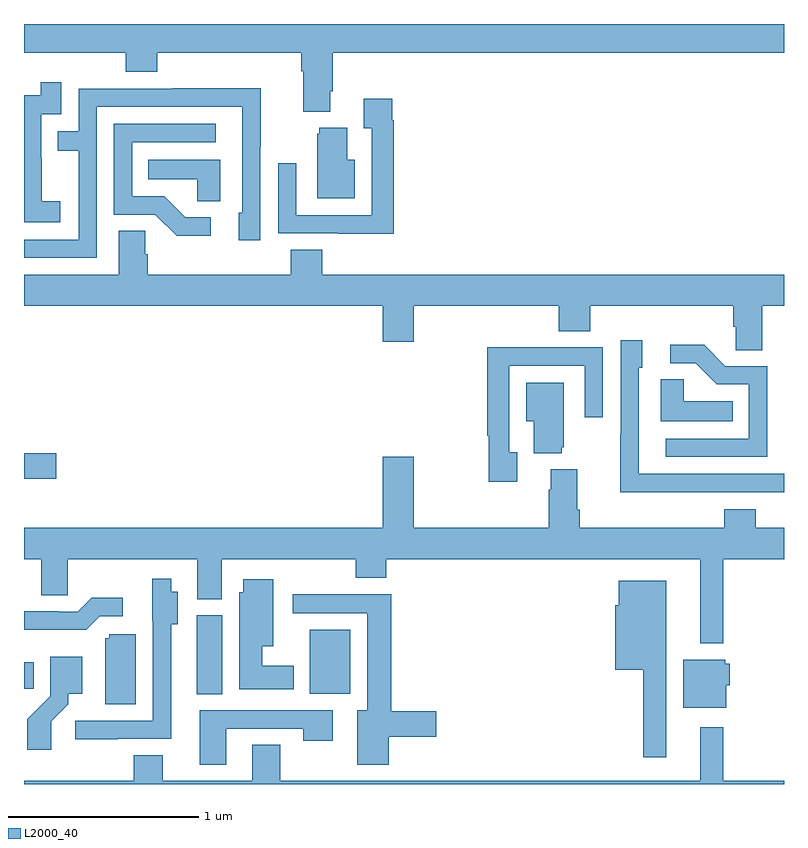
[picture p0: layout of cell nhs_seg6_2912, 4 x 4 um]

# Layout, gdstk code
import gdstk
lib = gdstk.Library(unit=1e-6, precision=1e-09)
def R(c, l, rs):  # rectangles x0, y0, x1, y1
    for r in rs: c.add(gdstk.rectangle(r[:2], r[2:], *l))
def P(c, l, *ps):  # polygons
    for p in ps: c.add(gdstk.Polygon(p, *l))
L2000_40 = (2000, 40)

nhs_seg6_2912 = lib.new_cell('nhs_seg6_2912')
R(nhs_seg6_2912, L2000_40, [(283.91,931.972,284.044,932.388), (284.504,931.976,284.716,932.311), (283,932.002,283.052,932.14), (283,933.107,283.171,933.242)])
P(nhs_seg6_2912, L2000_40, [(284.611,935.146),(284.624,935.146),(284.624,935.348),(287,935.348),(287,935.5),(283,935.5),(283,935.348),(283.535,935.348),(283.535,935.249),(283.7,935.249),(283.7,935.348),(284.459,935.348),(284.459,935.252),(284.471,935.252),(284.471,935.039),(284.611,935.039)],
  [(283.192,934.567),(283.094,934.567),(283.094,934.796),(283.092,934.796),(283.092,935.025),(283.197,935.025),(283.197,935.194),(283.089,935.194),(283.089,935.124),(283,935.124),(283,934.457),(283.192,934.457)],
  [(283.383,935.064),(284.148,935.064),(284.148,934.506),(284.129,934.506),(284.129,934.362),(284.244,934.362),(284.244,934.855),(284.247,934.855),(284.247,935.162),(283.783,935.162),(283.783,935.16),(283.287,935.16),(283.287,934.935),(283.177,934.935),(283.177,934.834),(283.287,934.834),(283.287,934.365),(283,934.365),(283,934.269),(283.383,934.269)],
  [(284.945,934.994),(284.938,934.994),(284.938,935.107),(284.789,935.107),(284.789,934.951),(284.829,934.951),(284.829,934.494),(284.433,934.494),(284.433,934.768),(284.337,934.768),(284.337,934.398),(284.653,934.398),(284.653,934.397),(284.945,934.397)],
  [(283.984,934.482),(283.849,934.482),(283.738,934.593),(283.569,934.593),(283.569,934.878),(284.008,934.878),(284.008,934.974),(283.473,934.974),(283.473,934.497),(283.692,934.497),(283.805,934.385),(283.984,934.385)],
  [(284.74,934.786),(284.701,934.786),(284.701,934.954),(284.555,934.954),(284.555,934.923),(284.543,934.923),(284.543,934.583),(284.74,934.583)],
  [(284.032,934.786),(283.654,934.786),(283.654,934.682),(283.911,934.682),(283.911,934.567),(284.032,934.567)],
  [(286.885,934.016),(287,934.016),(287,934.18),(284.57,934.18),(284.57,934.313),(284.405,934.313),(284.405,934.18),(283.652,934.18),(283.652,934.289),(283.638,934.289),(283.638,934.412),(283.499,934.412),(283.499,934.18),(283,934.18),(283,934.016),(284.888,934.016),(284.888,933.828),(285.052,933.828),(285.052,934.016),(285.815,934.016),(285.815,933.883),(285.98,933.883),(285.98,934.016),(286.733,934.016),(286.733,933.907),(286.746,933.907),(286.746,933.784),(286.885,933.784)],
  [(286.601,933.036),(287,933.036),(287,933.132),(286.236,933.132),(286.236,933.69),(286.255,933.69),(286.255,933.835),(286.14,933.835),(286.14,933.341),(286.138,933.341),(286.138,933.035),(286.601,933.035)],
  [(286.911,933.699),(286.692,933.699),(286.579,933.812),(286.401,933.812),(286.401,933.714),(286.535,933.714),(286.646,933.603),(286.815,933.603),(286.815,933.318),(286.377,933.318),(286.377,933.222),(286.911,933.222)],
  [(285.595,933.246),(285.555,933.246),(285.555,933.702),(285.951,933.702),(285.951,933.429),(286.047,933.429),(286.047,933.798),(285.731,933.798),(285.731,933.8),(285.439,933.8),(285.439,933.334),(285.447,933.334),(285.447,933.09),(285.595,933.09)],
  [(286.73,933.514),(286.473,933.514),(286.473,933.629),(286.352,933.629),(286.352,933.41),(286.73,933.41)],
  [(285.83,933.273),(285.841,933.273),(285.841,933.613),(285.644,933.613),(285.644,933.41),(285.683,933.41),(285.683,933.242),(285.83,933.242)],
  [(285.926,932.944),(285.913,932.944),(285.913,933.157),(285.773,933.157),(285.773,933.05),(285.761,933.05),(285.761,932.848),(285.052,932.848),(285.052,933.223),(284.888,933.223),(284.888,932.848),(283,932.848),(283,932.684),(283.091,932.684),(283.091,932.494),(283.23,932.494),(283.23,932.684),(283.913,932.684),(283.913,932.473),(284.041,932.473),(284.041,932.684),(284.746,932.684),(284.746,932.585),(284.906,932.585),(284.906,932.684),(286.559,932.684),(286.559,932.24),(286.681,932.24),(286.681,932.684),(287,932.684),(287,932.848),(286.85,932.848),(286.85,932.947),(286.685,932.947),(286.685,932.848),(285.926,932.848)],
  [(283.493,931.737),(283.774,931.737),(283.774,932.342),(283.81,932.342),(283.81,932.512),(283.774,932.512),(283.774,932.581),(283.676,932.581),(283.676,932.358),(283.677,932.358),(283.677,931.833),(283.269,931.833),(283.269,931.735),(283.493,931.735)],
  [(284.419,932.122),(284.254,932.122),(284.254,932.225),(284.311,932.225),(284.311,932.578),(284.153,932.578),(284.153,932.508),(284.132,932.508),(284.132,932),(284.419,932)],
  [(286.381,932.569),(286.13,932.569),(286.13,932.442),(286.112,932.442),(286.112,932.102),(286.26,932.102),(286.26,931.641),(286.381,931.641)],
  [(284.92,931.748),(285.169,931.748),(285.169,931.883),(284.933,931.883),(284.933,932.498),(284.415,932.498),(284.415,932.4),(284.807,932.4),(284.807,931.888),(284.753,931.888),(284.753,931.602),(284.92,931.602)],
  [(283.398,932.382),(283.519,932.382),(283.519,932.479),(283.357,932.479),(283.284,932.406),(283.184,932.406),(283.184,932.409),(283,932.409),(283,932.312),(283.327,932.312)],
  [(283.588,932.289),(283.449,932.289),(283.449,932.268),(283.427,932.268),(283.427,931.92),(283.588,931.92)],
  [(283.144,931.831),(283.234,931.921),(283.234,931.976),(283.306,931.976),(283.306,932.17),(283.137,932.17),(283.137,931.961),(283.018,931.842),(283.018,931.68),(283.144,931.68)],
  [(286.696,932.019),(286.714,932.019),(286.714,932.133),(286.692,932.133),(286.692,932.155),(286.469,932.155),(286.469,931.901),(286.696,931.901)],
  [(284.065,931.791),(284.47,931.791),(284.47,931.728),(284.626,931.728),(284.626,931.887),(283.925,931.887),(283.925,931.602),(284.065,931.602)],
  [(287,931.516),(286.681,931.516),(286.681,931.798),(286.559,931.798),(286.559,931.516),(284.349,931.516),(284.349,931.706),(284.201,931.706),(284.201,931.516),(283.729,931.516),(283.729,931.652),(283.577,931.652),(283.577,931.516),(283,931.516),(283,931.5),(287,931.5)])

lib.write_gds('nhs_seg6_2912.gds')
